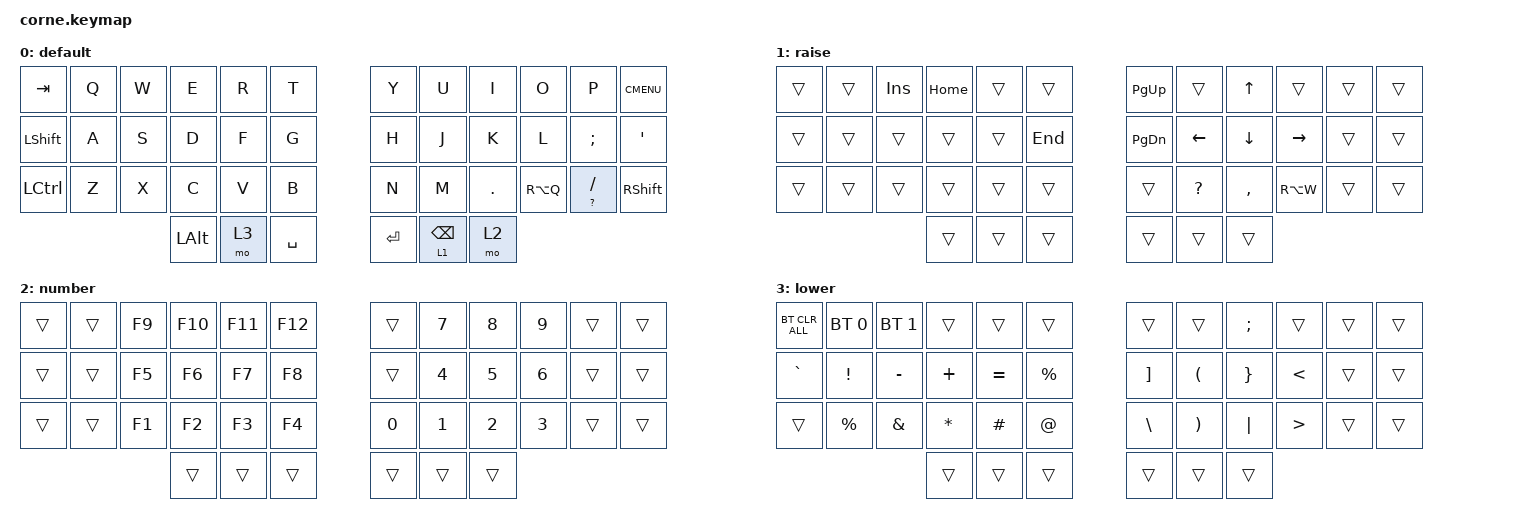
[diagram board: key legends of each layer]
/*
 * Copyright (c) 2020 The ZMK Contributors
 *
 * SPDX-License-Identifier: MIT
 */

#include <behaviors.dtsi>
#include <dt-bindings/zmk/bt.h>
#include <dt-bindings/zmk/keys.h>

#define BASE 0
#define LOWER 1
#define RAISE 2
#define ADJUST 3

&led_strip {
    chain-length = <27>; // Corne with per-key RGB
};

/ {
    conditional_layers { compatible = "zmk,conditional-layers"; };

    behaviors {
        holdTap: holdTap {
            compatible = "zmk,behavior-hold-tap";
            label = "HOLDTAP";
            bindings = <&kp>, <&kp>;

            #binding-cells = <2>;
            tapping-term-ms = <400>;
            flavor = "tap-preferred";
        };

        doubleTapA: doubleTapA {
            compatible = "zmk,behavior-tap-dance";
            label = "DOUBLETAPA";
            #binding-cells = <0>;
            bindings = <&holdTap LEFT_SHIFT A>, <&kp LS(A)>;
        };

        doubleTapCedilha: doubleTapCedilha {
            compatible = "zmk,behavior-tap-dance";
            label = "DOUBLETAPCEDILHA";
            #binding-cells = <0>;
            bindings = <&holdTap LEFT_SHIFT SEMI>, <&kp LS(SEMI)>;
        };

        holdTap2: holdTap2 {
            compatible = "zmk,behavior-hold-tap";
            label = "HOLDTAP2";
            bindings = <&kp>, <&kp>;

            #binding-cells = <2>;
            tapping-term-ms = <400>;
        };
    };

    macros {
        altTab: altTab {
            compatible = "zmk,behavior-macro";
            #binding-cells = <0>;
            bindings = <&none>;
            label = "ALTTAB";
        };
    };

    combos {
        compatible = "zmk,combos";

        teste {
            bindings = <&to 0>;
            key-positions = <36 39>;
        };

        teste2 {
            bindings = <&to 0>;
            key-positions = <0 11>;
        };
    };

    keymap {
        compatible = "zmk,keymap";

        default_layer {
            display-name = "default";

            // ---------------------------------------------------------------------------------------------------------
            // |  TAB  |  Q  |  W  |  E   |  R   |  T   |                   |  Y   |  U    |  I    |  O   |   P   | MENU  |
            // | SHIFT |  A  |  S  |  D   |  F   |  G   |                   |  H   |  J    |  K    |  L   |   ;   |   '   |
            // | CTRL  |  Z  |  X  |  C   |  V   |  B   |                   |  N   |  M    |  ,    |  .   |   /   | SHIFT |
            //                     | ALT  | LOWER| SPACE |                   | ENTER| RAISE | BKSPC |

            bindings = <
&kp TAB         &kp Q  &kp W  &kp E         &kp R  &kp T        &kp Y            &kp U   &kp I    &kp O      &kp P                    &kp K_CMENU
&kp LEFT_SHIFT  &kp A  &kp S  &kp D         &kp F  &kp G        &kp H            &kp J   &kp K    &kp L      &kp SEMI                 &kp SQT
&kp LCTRL       &kp Z  &kp X  &kp C         &kp V  &kp B        &kp N            &kp M   &kp DOT  &kp RA(Q)  &holdTap QUESTION SLASH  &kp RSHFT
                              &kp LEFT_ALT  &mo 3  &kp SPACE    &kp ENTER        &lt 1 BACKSPACE  &mo 2
            >;
        };

        moves {
            display-name = "raise";

            // ---------------------------------------------------------------------------------------------------------
            // |       |     | INS  | HOME  |       |      |                | PGUP |      |   ^   |      |       |       |
            // |       |     |      |       |       | END  |                | PGDN |  <-  |   v   |  ->  |       |       |
            // |       |     |      |       |       |      |                |      |  ?   |   ,   | RA(W)|       |       |
            //                      |       |       |      |                |      |      |       |

            bindings = <
&trans  &trans  &kp INSERT  &kp HOME  &trans  &trans    &kp PG_UP  &trans          &kp UP_ARROW    &trans           &trans  &trans
&trans  &trans  &trans      &trans    &trans  &kp END   &kp PG_DN  &kp LEFT_ARROW  &kp DOWN_ARROW  &kp RIGHT_ARROW  &trans  &trans
&trans  &trans  &trans      &trans    &trans  &trans    &trans     &kp QUESTION    &kp COMMA       &kp RA(W)        &trans  &trans
                            &trans    &trans  &trans    &trans     &trans          &trans
            >;
        };

        number {
            bindings = <
&trans  &trans  &kp F9  &kp F10  &kp F11  &kp F12    &trans  &kp N7  &kp N8  &kp N9  &trans  &trans
&trans  &trans  &kp F5  &kp F6   &kp F7   &kp F8     &trans  &kp N4  &kp N5  &kp N6  &trans  &trans
&trans  &trans  &kp F1  &kp F2   &kp F3   &kp F4     &kp N0  &kp N1  &kp N2  &kp N3  &trans  &trans
                         &trans  &trans   &trans      &trans  &trans  &trans
            >;
        };

        Simbols {
            display-name = "lower";
            bindings = <
&bt BT_CLR_ALL  &bt BT_SEL 0  &bt BT_SEL 1   &trans        &trans     &trans        &trans    &trans    &kp SEMI         &trans            &trans  &trans
&kp GRAVE       &kp EXCL      &kp MINUS      &kp PLUS      &kp EQUAL  &kp PRCNT     &kp RBKT  &kp LPAR  &kp RIGHT_BRACE  &kp LESS_THAN     &trans  &trans
&trans          &kp PERCENT   &kp AMPERSAND  &kp ASTERISK  &kp HASH   &kp AT        &kp BSLH  &kp RPAR  &kp PIPE         &kp GREATER_THAN  &trans  &trans
                               &trans         &trans        &trans     &trans        &trans    &trans
            >;
        };
    };
};
